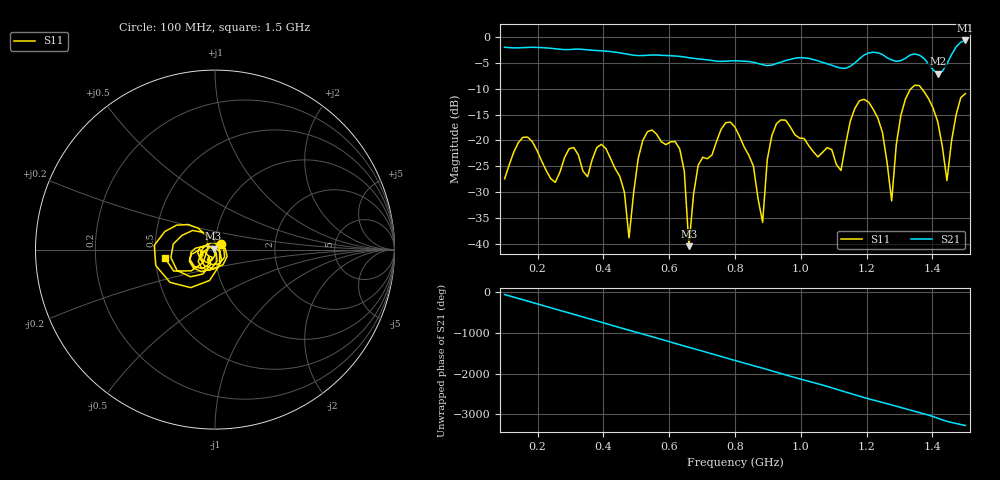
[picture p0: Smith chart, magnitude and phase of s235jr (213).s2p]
! NanoVNA-App
! Date: 2025-09-25 15:05:49
! Start: 100MHz Stop: 1,5GHz Points: 101
! S-Parameter data: F S11 S21 S12 S22
# Hz S RI R 50
!  Frequency  S11_Real  S11_Imag  S21_Real  S21_Imag  S12_Real  S12_Imag  S22_Real  S22_Imag
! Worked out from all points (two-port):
!   101 points, 100 MHz to 1.5 GHz, reference 50 ohm
!   highest |S21| = -0.65 dB at 1.5 GHz (marker M1); lowest = -7.1 dB at 1.416 GHz (marker M2)
!   |S21| within 3 dB of the highest: start of sweep to 614 MHz; 1.189 GHz to 1.254 GHz (65.43 MHz wide, 5.36 % of centre) (the widest 2 of 4)
!   lowest |S11| = -40.5 dB at 660 MHz (marker M3), VSWR 1.02, Z = 49.2 + j0.542 ohm
!   |S11| at or under -10 dB: start of sweep to 1.335 GHz; 1.367 GHz to end of sweep
!   S12 and S22 are empty: the file has one direction only
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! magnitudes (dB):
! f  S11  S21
! 100 MHz  -27.5  -2.0
! 156 MHz  -19.4  -2.0
! 338 MHz  -26.0  -2.4
! 408 MHz  -21.6  -2.7
! 478 MHz  -38.9  -3.4
! 520 MHz  -20.0  -3.6
! 576 MHz  -20.3  -3.5
! 632 MHz  -21.7  -3.7
! 660 MHz  -40.5  -4.0
! 688 MHz  -24.9  -4.2
! 800 MHz  -17.4  -4.6
! 884 MHz  -35.9  -5.4
! 926 MHz  -16.8  -5.1
! 1.038 GHz  -22.2  -4.4
! 1.122 GHz  -25.8  -6.0
! 1.206 GHz  -12.6  -3.1
! 1.276 GHz  -31.7  -4.4
! 1.304 GHz  -15.1  -4.5
! 1.332 GHz  -10.2  -3.5
! 1.416 GHz  -16.4  -7.1
! 1.444 GHz  -27.8  -5.2
! 1.5 GHz  -10.9  -0.7
